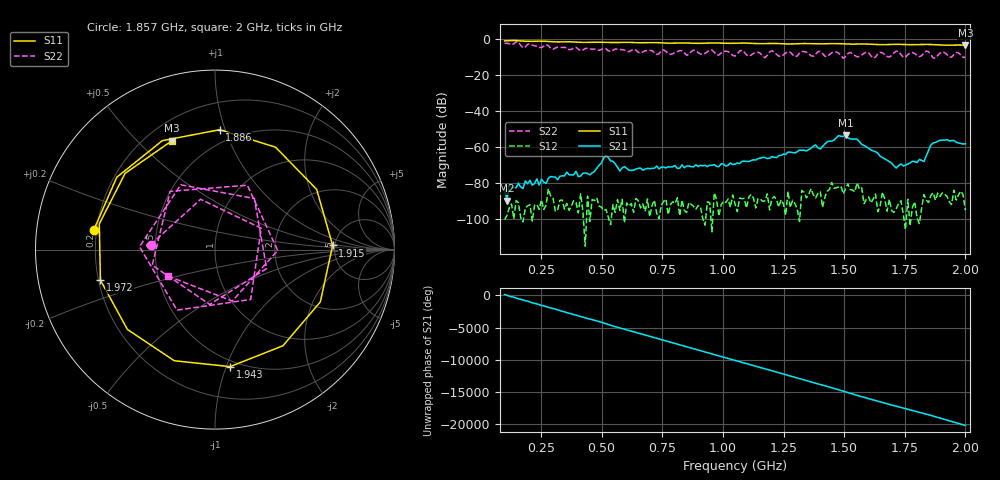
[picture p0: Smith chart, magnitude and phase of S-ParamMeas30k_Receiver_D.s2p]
!Keysight Technologies,N5242B,MY48420967,A.15.65.19
!Date: Saturday, February 04, 2023 04:32:48
!Correction: S11(C  1-Port  )
!S21(Off)
!S12(Off)
!S22(Off)
!S2P File: Measurements: S11, S21, S12, S22:
# Hz S  dB  R 50
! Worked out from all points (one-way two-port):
!   201 points, 100 MHz to 2 GHz, reference 50 ohm
!   highest |S21| = -53.62 dB at 1.506 GHz (marker M1); lowest = -89.8 dB at 109.5 MHz (marker M2)
!   lowest |S11| = -3.7 dB at 2 GHz (marker M3), VSWR 4.75, Z = 15.1 + j31.9 ohm
!   |S11| at or under -10 dB: nowhere
!   |S22| runs from -10.9 to -1.8 dB; largest |S21 - S12| = 0.0021
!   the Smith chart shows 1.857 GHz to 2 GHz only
!   S11 on the Smith chart (normalised r, x): 1.857 GHz: 0.19, +0.08; 1.886 GHz: 0.40, +0.96; 1.915 GHz: 4.78, +0.39; 1.943 GHz: 0.45, -1.03; 1.972 GHz: 0.21, -0.13; 2 GHz: 0.30, +0.64
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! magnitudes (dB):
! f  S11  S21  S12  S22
! 100 MHz  -1.3  -82.8  -100.3  -2.6
! 109.5 MHz  -1.2  -89.8  -98.2  -2.6
! 423 MHz  -2.1  -74.6  -96.2  -6.4
! 470.5 MHz  -2.0  -73.7  -89.8  -5.8
! 518 MHz  -2.1  -64.9  -94.7  -5.7
! 575 MHz  -2.1  -73.4  -95.3  -6.1
! 736.5 MHz  -2.3  -72.2  -99.9  -8.3
! 1.05 GHz  -2.6  -69.6  -91.6  -9.7
! 1.079 GHz  -2.5  -68.1  -88.7  -6.4
! 1.173 GHz  -2.8  -65.9  -90.0  -10.6
! 1.373 GHz  -2.9  -59.6  -86.6  -9.8
! 1.506 GHz  -3.0  -53.6  -83.0  -10.0
! 1.687 GHz  -3.2  -68.2  -89.1  -10.3
! 1.715 GHz  -3.2  -71.8  -94.2  -6.9
! 1.744 GHz  -3.3  -70.6  -96.9  -10.4
! 1.829 GHz  -3.2  -68.2  -86.5  -8.0
! 1.857 GHz  -3.3  -59.0  -87.0  -8.9
! 1.886 GHz  -3.5  -56.9  -85.7  -9.3
! 1.915 GHz  -3.7  -56.3  -86.3  -7.8
! 1.943 GHz  -3.6  -56.6  -92.0  -10.3
! 1.972 GHz  -3.6  -57.9  -86.7  -7.9
! 2 GHz  -3.7  -58.3  -95.1  -10.4
